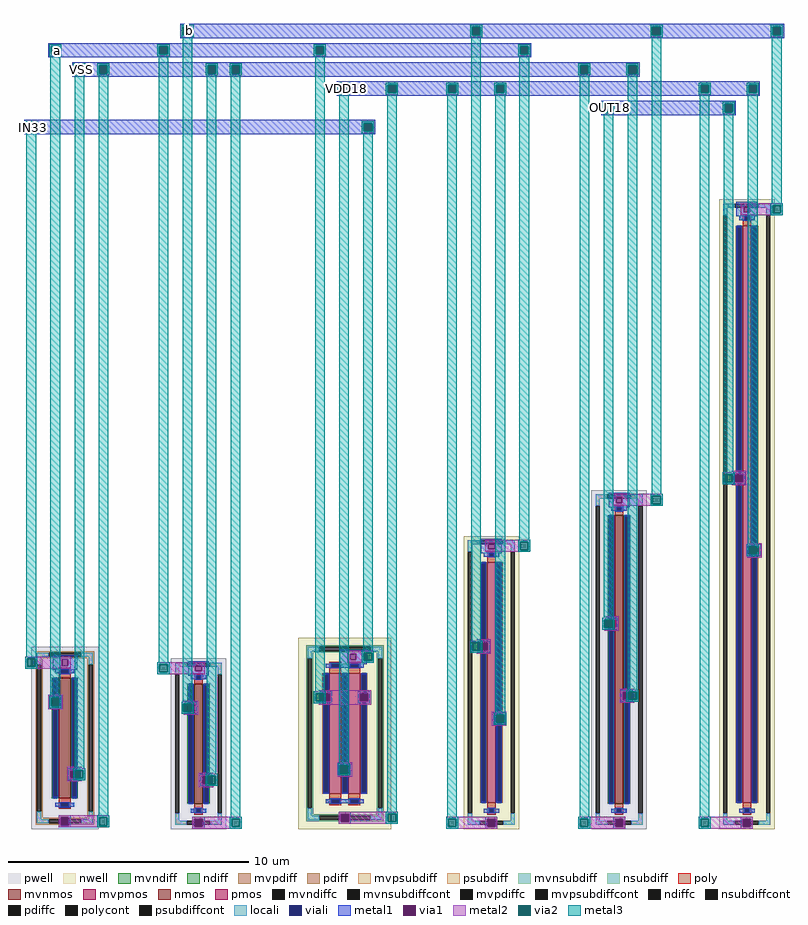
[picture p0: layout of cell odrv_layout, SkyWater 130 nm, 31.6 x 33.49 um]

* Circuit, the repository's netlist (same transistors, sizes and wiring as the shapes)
* NGSPICE file created from odrv_layout.ext - technology: sky130A

.subckt odrv_layout VSS VDD18 OUT18 IN33
X0 VSS b OUT18 VSS sky130_fd_pr__nfet_01v8 ad=3.48 pd=24.58 as=3.48 ps=24.58 w=12 l=0.35
X1 VSS a b VSS sky130_fd_pr__nfet_01v8 ad=1.45 pd=10.58 as=1.45 ps=10.58 w=5 l=0.35
X2 VSS IN33 a VSS sky130_fd_pr__nfet_g5v0d10v5 ad=1.45 pd=10.58 as=1.45 ps=10.58 w=5 l=0.5
X3 VDD18 b OUT18 VDD18 sky130_fd_pr__pfet_01v8 ad=6.96 pd=48.58 as=6.96 ps=48.58 w=24 l=0.35
X4 VDD18 a b VDD18 sky130_fd_pr__pfet_01v8 ad=2.9 pd=20.58 as=2.9 ps=20.58 w=10 l=0.35
X5 a IN33 VDD18 VDD18 sky130_fd_pr__pfet_g5v0d10v5 ad=1.45 pd=10.58 as=0.725 ps=5.29 w=5 l=0.5 M=2
.ends

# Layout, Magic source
magic
tech sky130A
magscale 1 2
<< viali >>
rect 246 31 314 99
rect 1357 19 1425 87
rect 2575 61 2643 129
rect 3793 19 3861 87
rect 4855 19 4923 87
rect 5917 19 5985 87
<< metal1 >>
rect 1240 6672 6260 6698
rect 1240 6604 1266 6672
rect 1334 6604 3666 6672
rect 3734 6604 5166 6672
rect 5234 6604 6166 6672
rect 6234 6604 6260 6672
rect 1240 6578 6260 6604
rect 140 6512 4160 6538
rect 140 6444 166 6512
rect 234 6444 1066 6512
rect 1134 6444 2366 6512
rect 2434 6444 4066 6512
rect 4134 6444 4160 6512
rect 140 6418 4160 6444
rect 340 6352 5060 6378
rect 340 6284 366 6352
rect 434 6284 566 6352
rect 634 6284 1466 6352
rect 1534 6284 1666 6352
rect 1734 6284 4566 6352
rect 4634 6284 4966 6352
rect 5034 6284 5060 6352
rect 340 6258 5060 6284
rect 2540 6192 6060 6218
rect 2540 6124 2566 6192
rect 2634 6124 2966 6192
rect 3034 6124 3466 6192
rect 3534 6124 3866 6192
rect 3934 6124 5566 6192
rect 5634 6124 5966 6192
rect 6034 6124 6060 6192
rect 2540 6098 6060 6124
rect 4740 6032 5860 6058
rect 4740 5964 4766 6032
rect 4834 5964 5766 6032
rect 5834 5964 5860 6032
rect 4740 5938 5860 5964
rect -60 5872 2860 5898
rect -60 5804 -34 5872
rect 34 5804 2766 5872
rect 2834 5804 2860 5872
rect -60 5778 2860 5804
rect 5864 5182 6038 5216
rect 5864 5130 5925 5182
rect 5977 5130 6038 5182
rect 5864 5096 6038 5130
rect 5837 2953 5937 2969
rect 5837 2885 5853 2953
rect 5921 2885 5937 2953
rect 5837 2869 5937 2885
rect 4802 2764 4976 2798
rect 4802 2712 4863 2764
rect 4915 2712 4976 2764
rect 4802 2678 4976 2712
rect 3740 2382 3914 2416
rect 3740 2330 3801 2382
rect 3853 2330 3914 2382
rect 3740 2296 3914 2330
rect 5965 2353 6065 2369
rect 5965 2285 5981 2353
rect 6049 2285 6065 2353
rect 5965 2269 6065 2285
rect 4775 1744 4875 1760
rect 4775 1676 4791 1744
rect 4859 1676 4875 1744
rect 4775 1660 4875 1676
rect 3713 1553 3813 1569
rect 2564 1460 2790 1494
rect 3713 1485 3729 1553
rect 3797 1485 3813 1553
rect 3713 1469 3813 1485
rect 178 1412 382 1446
rect 178 1360 254 1412
rect 306 1360 382 1412
rect 2564 1408 2651 1460
rect 2703 1408 2790 1460
rect 178 1326 382 1360
rect 1304 1364 1478 1398
rect 2564 1374 2790 1408
rect 1304 1312 1365 1364
rect 1417 1312 1478 1364
rect 1304 1278 1478 1312
rect 2401 1131 2501 1147
rect 151 1092 251 1108
rect 151 1024 167 1092
rect 235 1024 251 1092
rect 2401 1063 2417 1131
rect 2485 1063 2501 1131
rect 151 1008 251 1024
rect 1277 1044 1377 1060
rect 2401 1047 2501 1063
rect 2717 1131 2817 1147
rect 2717 1063 2733 1131
rect 2801 1063 2817 1131
rect 2717 1047 2817 1063
rect 4903 1144 5003 1160
rect 4903 1076 4919 1144
rect 4987 1076 5003 1144
rect 4903 1060 5003 1076
rect 1277 976 1293 1044
rect 1361 976 1377 1044
rect 1277 960 1377 976
rect 3841 953 3941 969
rect 3841 885 3857 953
rect 3925 885 3941 953
rect 3841 869 3941 885
rect 2559 531 2659 547
rect 309 492 409 508
rect 309 424 325 492
rect 393 424 409 492
rect 2559 463 2575 531
rect 2643 463 2659 531
rect 309 408 409 424
rect 1405 444 1505 460
rect 2559 447 2659 463
rect 1405 376 1421 444
rect 1489 376 1505 444
rect 1405 360 1505 376
rect 2559 129 2659 145
rect 230 99 330 115
rect 230 31 246 99
rect 314 31 330 99
rect 230 15 330 31
rect 1341 87 1441 103
rect 1341 19 1357 87
rect 1425 19 1441 87
rect 2559 61 2575 129
rect 2643 61 2659 129
rect 2559 45 2659 61
rect 3777 87 3877 103
rect 1341 3 1441 19
rect 3777 19 3793 87
rect 3861 19 3877 87
rect 3777 3 3877 19
rect 4839 87 4939 103
rect 4839 19 4855 87
rect 4923 19 4939 87
rect 4839 3 4939 19
rect 5901 87 6001 103
rect 5901 19 5917 87
rect 5985 19 6001 87
rect 5901 3 6001 19
<< via1 >>
rect 1266 6604 1334 6672
rect 3666 6604 3734 6672
rect 5166 6604 5234 6672
rect 6166 6604 6234 6672
rect 166 6444 234 6512
rect 1066 6444 1134 6512
rect 2366 6444 2434 6512
rect 4066 6444 4134 6512
rect 366 6284 434 6352
rect 566 6284 634 6352
rect 1466 6284 1534 6352
rect 1666 6284 1734 6352
rect 4566 6284 4634 6352
rect 4966 6284 5034 6352
rect 2566 6124 2634 6192
rect 2966 6124 3034 6192
rect 3466 6124 3534 6192
rect 3866 6124 3934 6192
rect 5566 6124 5634 6192
rect 5966 6124 6034 6192
rect 4766 5964 4834 6032
rect 5766 5964 5834 6032
rect -34 5804 34 5872
rect 2766 5804 2834 5872
rect 5925 5130 5977 5182
rect 5853 2885 5921 2953
rect 4863 2712 4915 2764
rect 3801 2330 3853 2382
rect 5981 2285 6049 2353
rect 4791 1676 4859 1744
rect 3729 1485 3797 1553
rect 254 1360 306 1412
rect 2651 1408 2703 1460
rect 1365 1312 1417 1364
rect 167 1024 235 1092
rect 2417 1063 2485 1131
rect 2733 1063 2801 1131
rect 4919 1076 4987 1144
rect 1293 976 1361 1044
rect 3857 885 3925 953
rect 325 424 393 492
rect 2575 463 2643 531
rect 1421 376 1489 444
rect 246 31 314 99
rect 1357 19 1425 87
rect 2575 61 2643 129
rect 3793 19 3861 87
rect 4855 19 4923 87
rect 5917 19 5985 87
<< metal2 >>
rect 1250 6672 1350 6688
rect 1250 6604 1266 6672
rect 1334 6604 1350 6672
rect 1250 6588 1350 6604
rect 3650 6672 3750 6688
rect 3650 6604 3666 6672
rect 3734 6604 3750 6672
rect 3650 6588 3750 6604
rect 5150 6672 5250 6688
rect 5150 6604 5166 6672
rect 5234 6604 5250 6672
rect 5150 6588 5250 6604
rect 6150 6672 6250 6688
rect 6150 6604 6166 6672
rect 6234 6604 6250 6672
rect 6150 6588 6250 6604
rect 150 6512 250 6528
rect 150 6444 166 6512
rect 234 6444 250 6512
rect 150 6428 250 6444
rect 1050 6512 1150 6528
rect 1050 6444 1066 6512
rect 1134 6444 1150 6512
rect 1050 6428 1150 6444
rect 2350 6512 2450 6528
rect 2350 6444 2366 6512
rect 2434 6444 2450 6512
rect 2350 6428 2450 6444
rect 4050 6512 4150 6528
rect 4050 6444 4066 6512
rect 4134 6444 4150 6512
rect 4050 6428 4150 6444
rect 350 6352 450 6368
rect 350 6284 366 6352
rect 434 6284 450 6352
rect 350 6268 450 6284
rect 550 6352 650 6368
rect 550 6284 566 6352
rect 634 6284 650 6352
rect 550 6268 650 6284
rect 1450 6352 1550 6368
rect 1450 6284 1466 6352
rect 1534 6284 1550 6352
rect 1450 6268 1550 6284
rect 1650 6352 1750 6368
rect 1650 6284 1666 6352
rect 1734 6284 1750 6352
rect 1650 6268 1750 6284
rect 4550 6352 4650 6368
rect 4550 6284 4566 6352
rect 4634 6284 4650 6352
rect 4550 6268 4650 6284
rect 4950 6352 5050 6368
rect 4950 6284 4966 6352
rect 5034 6284 5050 6352
rect 4950 6268 5050 6284
rect 2550 6192 2650 6208
rect 2550 6124 2566 6192
rect 2634 6124 2650 6192
rect 2550 6108 2650 6124
rect 2950 6192 3050 6208
rect 2950 6124 2966 6192
rect 3034 6124 3050 6192
rect 2950 6108 3050 6124
rect 3450 6192 3550 6208
rect 3450 6124 3466 6192
rect 3534 6124 3550 6192
rect 3450 6108 3550 6124
rect 3850 6192 3950 6208
rect 3850 6124 3866 6192
rect 3934 6124 3950 6192
rect 3850 6108 3950 6124
rect 5550 6192 5650 6208
rect 5550 6124 5566 6192
rect 5634 6124 5650 6192
rect 5550 6108 5650 6124
rect 5950 6192 6050 6208
rect 5950 6124 5966 6192
rect 6034 6124 6050 6192
rect 5950 6108 6050 6124
rect 4750 6032 4850 6048
rect 4750 5964 4766 6032
rect 4834 5964 4850 6032
rect 4750 5948 4850 5964
rect 5750 6032 5850 6048
rect 5750 5964 5766 6032
rect 5834 5964 5850 6032
rect 5750 5948 5850 5964
rect -50 5872 50 5888
rect -50 5804 -34 5872
rect 34 5804 50 5872
rect -50 5788 50 5804
rect 2750 5872 2850 5888
rect 2750 5804 2766 5872
rect 2834 5804 2850 5872
rect 2750 5788 2850 5804
rect 5901 5190 6250 5206
rect 5901 5182 6166 5190
rect 5901 5130 5925 5182
rect 5977 5130 6166 5182
rect 5901 5122 6166 5130
rect 6234 5122 6250 5190
rect 5901 5106 6250 5122
rect 5827 2969 5947 2979
rect 5750 2953 5947 2969
rect 5750 2885 5766 2953
rect 5834 2885 5853 2953
rect 5921 2885 5947 2953
rect 5750 2869 5947 2885
rect 5827 2859 5947 2869
rect 4839 2772 5250 2788
rect 4839 2764 5166 2772
rect 4839 2712 4863 2764
rect 4915 2712 5166 2764
rect 4839 2704 5166 2712
rect 5234 2704 5250 2772
rect 4839 2688 5250 2704
rect 3777 2390 4150 2406
rect 3777 2382 4066 2390
rect 3777 2330 3801 2382
rect 3853 2330 4066 2382
rect 3777 2322 4066 2330
rect 4134 2322 4150 2390
rect 5955 2369 6075 2379
rect 3777 2306 4150 2322
rect 5950 2353 6075 2369
rect 5950 2285 5966 2353
rect 6049 2285 6075 2353
rect 5950 2269 6075 2285
rect 5955 2259 6075 2269
rect 4765 1760 4885 1770
rect 4750 1744 4885 1760
rect 4750 1676 4766 1744
rect 4859 1676 4885 1744
rect 4750 1660 4885 1676
rect 4765 1650 4885 1660
rect 3703 1569 3823 1579
rect 3650 1553 3823 1569
rect 3650 1485 3666 1553
rect 3797 1485 3823 1553
rect 2627 1468 2850 1484
rect 3650 1469 3823 1485
rect 2627 1460 2766 1468
rect -50 1420 330 1436
rect -50 1352 -34 1420
rect 34 1412 330 1420
rect 34 1360 254 1412
rect 306 1360 330 1412
rect 2627 1408 2651 1460
rect 2703 1408 2766 1460
rect 2627 1400 2766 1408
rect 2834 1400 2850 1468
rect 3703 1459 3823 1469
rect 34 1352 330 1360
rect -50 1336 330 1352
rect 1050 1372 1441 1388
rect 2627 1384 2850 1400
rect 1050 1304 1066 1372
rect 1134 1364 1441 1372
rect 1134 1312 1365 1364
rect 1417 1312 1441 1364
rect 1134 1304 1441 1312
rect 1050 1288 1441 1304
rect 4893 1160 5013 1170
rect 2391 1147 2827 1157
rect 2350 1131 2827 1147
rect 141 1092 261 1118
rect 141 1024 166 1092
rect 235 1024 261 1092
rect 1267 1060 1387 1070
rect 141 998 261 1024
rect 1250 1044 1387 1060
rect 2350 1063 2366 1131
rect 2485 1063 2733 1131
rect 2801 1063 2827 1131
rect 2350 1047 2827 1063
rect 4893 1144 5050 1160
rect 4893 1076 4919 1144
rect 5034 1076 5050 1144
rect 4893 1060 5050 1076
rect 4893 1050 5013 1060
rect 1250 976 1266 1044
rect 1361 976 1387 1044
rect 2391 1037 2827 1047
rect 1250 960 1387 976
rect 1267 950 1387 960
rect 3831 953 3951 979
rect 3831 885 3857 953
rect 3934 885 3951 953
rect 3831 859 3951 885
rect 2549 531 2669 557
rect 299 508 419 518
rect 299 492 450 508
rect 299 424 325 492
rect 434 424 450 492
rect 299 408 450 424
rect 1395 460 1515 470
rect 2549 463 2566 531
rect 2643 463 2669 531
rect 1395 444 1550 460
rect 299 398 419 408
rect 1395 376 1421 444
rect 1534 376 1550 444
rect 2549 437 2669 463
rect 1395 360 1550 376
rect 1395 350 1515 360
rect 2559 129 3050 145
rect 230 99 650 115
rect 230 31 246 99
rect 314 31 566 99
rect 634 31 650 99
rect 230 15 650 31
rect 1341 87 1750 103
rect 1341 19 1357 87
rect 1425 19 1666 87
rect 1734 19 1750 87
rect 2559 61 2575 129
rect 2643 61 2966 129
rect 3034 61 3050 129
rect 2559 45 3050 61
rect 3450 87 3877 103
rect 1341 3 1750 19
rect 3450 19 3466 87
rect 3534 19 3793 87
rect 3861 19 3877 87
rect 3450 3 3877 19
rect 4550 87 4939 103
rect 4550 19 4566 87
rect 4634 19 4855 87
rect 4923 19 4939 87
rect 4550 3 4939 19
rect 5550 87 6001 103
rect 5550 19 5566 87
rect 5634 19 5917 87
rect 5985 19 6001 87
rect 5550 3 6001 19
<< via2 >>
rect 1266 6604 1334 6672
rect 3666 6604 3734 6672
rect 5166 6604 5234 6672
rect 6166 6604 6234 6672
rect 166 6444 234 6512
rect 1066 6444 1134 6512
rect 2366 6444 2434 6512
rect 4066 6444 4134 6512
rect 366 6284 434 6352
rect 566 6284 634 6352
rect 1466 6284 1534 6352
rect 1666 6284 1734 6352
rect 4566 6284 4634 6352
rect 4966 6284 5034 6352
rect 2566 6124 2634 6192
rect 2966 6124 3034 6192
rect 3466 6124 3534 6192
rect 3866 6124 3934 6192
rect 5566 6124 5634 6192
rect 5966 6124 6034 6192
rect 4766 5964 4834 6032
rect 5766 5964 5834 6032
rect -34 5804 34 5872
rect 2766 5804 2834 5872
rect 6166 5122 6234 5190
rect 5766 2885 5834 2953
rect 5166 2704 5234 2772
rect 4066 2322 4134 2390
rect 5966 2285 5981 2353
rect 5981 2285 6034 2353
rect 4766 1676 4791 1744
rect 4791 1676 4834 1744
rect 3666 1485 3729 1553
rect 3729 1485 3734 1553
rect -34 1352 34 1420
rect 2766 1400 2834 1468
rect 1066 1304 1134 1372
rect 166 1024 167 1092
rect 167 1024 234 1092
rect 2366 1063 2417 1131
rect 2417 1063 2434 1131
rect 4966 1076 4987 1144
rect 4987 1076 5034 1144
rect 1266 976 1293 1044
rect 1293 976 1334 1044
rect 3866 885 3925 953
rect 3925 885 3934 953
rect 366 424 393 492
rect 393 424 434 492
rect 2566 463 2575 531
rect 2575 463 2634 531
rect 1466 376 1489 444
rect 1489 376 1534 444
rect 566 31 634 99
rect 1666 19 1734 87
rect 2966 61 3034 129
rect 3466 19 3534 87
rect 4566 19 4634 87
rect 5566 19 5634 87
<< metal3 >>
rect 1250 6672 1350 6688
rect 1250 6604 1266 6672
rect 1334 6604 1350 6672
rect 1250 6588 1350 6604
rect 3650 6672 3750 6688
rect 3650 6604 3666 6672
rect 3734 6604 3750 6672
rect 3650 6588 3750 6604
rect 5150 6672 5250 6688
rect 5150 6604 5166 6672
rect 5234 6604 5250 6672
rect 5150 6588 5250 6604
rect 6150 6672 6250 6688
rect 6150 6604 6166 6672
rect 6234 6604 6250 6672
rect 6150 6588 6250 6604
rect 150 6512 250 6528
rect 150 6444 166 6512
rect 234 6444 250 6512
rect 150 6428 250 6444
rect 1050 6512 1150 6528
rect 1050 6444 1066 6512
rect 1134 6444 1150 6512
rect 1050 6428 1150 6444
rect -50 5872 50 5888
rect -50 5804 -34 5872
rect 34 5804 50 5872
rect -50 5788 50 5804
rect -40 1436 40 5788
rect -50 1420 50 1436
rect -50 1352 -34 1420
rect 34 1352 50 1420
rect -50 1336 50 1352
rect 160 1108 240 6428
rect 350 6352 450 6368
rect 350 6284 366 6352
rect 434 6284 450 6352
rect 350 6268 450 6284
rect 550 6352 650 6368
rect 550 6284 566 6352
rect 634 6284 650 6352
rect 550 6268 650 6284
rect 150 1092 250 1108
rect 150 1024 166 1092
rect 234 1024 250 1092
rect 150 1008 250 1024
rect 360 508 440 6268
rect 350 492 450 508
rect 350 424 366 492
rect 434 424 450 492
rect 350 408 450 424
rect 560 115 640 6268
rect 1060 1388 1140 6428
rect 1050 1372 1150 1388
rect 1050 1304 1066 1372
rect 1134 1304 1150 1372
rect 1050 1288 1150 1304
rect 1260 1060 1340 6588
rect 2350 6512 2450 6528
rect 2350 6444 2366 6512
rect 2434 6444 2450 6512
rect 2350 6428 2450 6444
rect 1450 6352 1550 6368
rect 1450 6284 1466 6352
rect 1534 6284 1550 6352
rect 1450 6268 1550 6284
rect 1650 6352 1750 6368
rect 1650 6284 1666 6352
rect 1734 6284 1750 6352
rect 1650 6268 1750 6284
rect 1250 1044 1350 1060
rect 1250 976 1266 1044
rect 1334 976 1350 1044
rect 1250 960 1350 976
rect 1460 460 1540 6268
rect 1450 444 1550 460
rect 1450 376 1466 444
rect 1534 376 1550 444
rect 1450 360 1550 376
rect 550 99 650 115
rect 1660 103 1740 6268
rect 2360 1147 2440 6428
rect 2550 6192 2650 6208
rect 2550 6124 2566 6192
rect 2634 6124 2650 6192
rect 2550 6108 2650 6124
rect 2950 6192 3050 6208
rect 2950 6124 2966 6192
rect 3034 6124 3050 6192
rect 2950 6108 3050 6124
rect 3450 6192 3550 6208
rect 3450 6124 3466 6192
rect 3534 6124 3550 6192
rect 3450 6108 3550 6124
rect 2350 1131 2450 1147
rect 2350 1063 2366 1131
rect 2434 1063 2450 1131
rect 2350 1047 2450 1063
rect 2560 547 2640 6108
rect 2750 5872 2850 5888
rect 2750 5804 2766 5872
rect 2834 5804 2850 5872
rect 2750 5788 2850 5804
rect 2760 1484 2840 5788
rect 2750 1468 2850 1484
rect 2750 1400 2766 1468
rect 2834 1400 2850 1468
rect 2750 1384 2850 1400
rect 2550 531 2650 547
rect 2550 463 2566 531
rect 2634 463 2650 531
rect 2550 447 2650 463
rect 2960 145 3040 6108
rect 2950 129 3050 145
rect 550 31 566 99
rect 634 31 650 99
rect 550 15 650 31
rect 1650 87 1750 103
rect 1650 19 1666 87
rect 1734 19 1750 87
rect 2950 61 2966 129
rect 3034 61 3050 129
rect 3460 103 3540 6108
rect 3660 1569 3740 6588
rect 4050 6512 4150 6528
rect 4050 6444 4066 6512
rect 4134 6444 4150 6512
rect 4050 6428 4150 6444
rect 3850 6192 3950 6208
rect 3850 6124 3866 6192
rect 3934 6124 3950 6192
rect 3850 6108 3950 6124
rect 3650 1553 3750 1569
rect 3650 1485 3666 1553
rect 3734 1485 3750 1553
rect 3650 1469 3750 1485
rect 3860 969 3940 6108
rect 4060 2406 4140 6428
rect 4550 6352 4650 6368
rect 4550 6284 4566 6352
rect 4634 6284 4650 6352
rect 4550 6268 4650 6284
rect 4950 6352 5050 6368
rect 4950 6284 4966 6352
rect 5034 6284 5050 6352
rect 4950 6268 5050 6284
rect 4050 2390 4150 2406
rect 4050 2322 4066 2390
rect 4134 2322 4150 2390
rect 4050 2306 4150 2322
rect 3850 953 3950 969
rect 3850 885 3866 953
rect 3934 885 3950 953
rect 3850 869 3950 885
rect 4560 103 4640 6268
rect 4750 6032 4850 6048
rect 4750 5964 4766 6032
rect 4834 5964 4850 6032
rect 4750 5948 4850 5964
rect 4760 1760 4840 5948
rect 4750 1744 4850 1760
rect 4750 1676 4766 1744
rect 4834 1676 4850 1744
rect 4750 1660 4850 1676
rect 4960 1160 5040 6268
rect 5160 2788 5240 6588
rect 5550 6192 5650 6208
rect 5550 6124 5566 6192
rect 5634 6124 5650 6192
rect 5550 6108 5650 6124
rect 5950 6192 6050 6208
rect 5950 6124 5966 6192
rect 6034 6124 6050 6192
rect 5950 6108 6050 6124
rect 5150 2772 5250 2788
rect 5150 2704 5166 2772
rect 5234 2704 5250 2772
rect 5150 2688 5250 2704
rect 4950 1144 5050 1160
rect 4950 1076 4966 1144
rect 5034 1076 5050 1144
rect 4950 1060 5050 1076
rect 5560 103 5640 6108
rect 5750 6032 5850 6048
rect 5750 5964 5766 6032
rect 5834 5964 5850 6032
rect 5750 5948 5850 5964
rect 5760 2969 5840 5948
rect 5750 2953 5850 2969
rect 5750 2885 5766 2953
rect 5834 2885 5850 2953
rect 5750 2869 5850 2885
rect 5960 2369 6040 6108
rect 6160 5206 6240 6588
rect 6150 5190 6250 5206
rect 6150 5122 6166 5190
rect 6234 5122 6250 5190
rect 6150 5106 6250 5122
rect 5950 2353 6050 2369
rect 5950 2285 5966 2353
rect 6034 2285 6050 2353
rect 5950 2269 6050 2285
rect 2950 45 3050 61
rect 3450 87 3550 103
rect 1650 3 1750 19
rect 3450 19 3466 87
rect 3534 19 3550 87
rect 3450 3 3550 19
rect 4550 87 4650 103
rect 4550 19 4566 87
rect 4634 19 4650 87
rect 4550 3 4650 19
rect 5550 87 5650 103
rect 5550 19 5566 87
rect 5634 19 5650 87
rect 5550 3 5650 19
use sky130_fd_pr__nfet_g5v0d10v5_K6WTJS  U1N
transform 1 0 280 0 1 758
box -280 -758 280 758
use sky130_fd_pr__pfet_g5v0d10v5_T5LBLN  U1P
transform 1 0 2609 0 1 797
box -387 -797 387 797
use sky130_fd_pr__nfet_01v8_M2T339  U2N
transform 1 0 1391 0 1 710
box -231 -710 231 710
use sky130_fd_pr__pfet_01v8_66B4UM  U2P
transform 1 0 3827 0 1 1219
box -231 -1219 231 1219
use sky130_fd_pr__nfet_01v8_JCK2Y9  U3N
transform 1 0 4889 0 1 1410
box -231 -1410 231 1410
use sky130_fd_pr__pfet_01v8_4WRPEJ  U3P
transform 1 0 5951 0 1 2619
box -231 -2619 231 2619
<< labels >>
flabel metal1 400 6278 440 6358 0 FreeSans 400 0 0 0 VSS
port 1 nsew
flabel metal1 200 6438 240 6518 0 FreeSans 400 0 0 0 a
flabel metal1 2600 6118 2640 6198 0 FreeSans 400 0 0 0 VDD18
port 2 nsew
flabel metal1 1300 6598 1340 6678 0 FreeSans 400 0 0 0 b
flabel metal1 4800 5958 4840 6038 0 FreeSans 400 0 0 0 OUT18
port 3 nsew
flabel metal1 0 5798 40 5878 0 FreeSans 400 0 0 0 IN33
port 4 nsew
<< end >>

# cell sky130_fd_pr__nfet_g5v0d10v5_K6WTJS: kit device sky130_fd_pr__nfet_g5v0d10v5, w 5 l 0.5 m 1 nf 1 diffcov 100 polycov 100 guard 1 glc 1 grc 1 gtc 1 gbc 1 tbcov 100 rlcov 100 topc 1 botc 1 poverlap 0 doverlap 1 lmin 0.50 wmin 0.42 class mosfet compatible {sky130_fd_pr__nfet_01v8 sky130_fd_pr__nfet_01v8_lvt sky130_fd_bs_flash__special_sonosfet_star sky130_fd_pr__nfet_g5v0d10v5 sky130_fd_pr__nfet_05v0_nvt sky130_fd_pr__nfet_03v3_nvt} full_metal 1 conn_gates 1 viasrc 100 viadrn 100 viagate 100 viagb 0 viagr 0 viagl 0 viagt 0 doports 1

# cell sky130_fd_pr__pfet_g5v0d10v5_T5LBLN: kit device sky130_fd_pr__pfet_g5v0d10v5, w 5 l 0.5 m 1 nf 2 diffcov 100 polycov 100 guard 1 glc 1 grc 1 gtc 1 gbc 1 tbcov 100 rlcov 100 topc 1 botc 1 poverlap 0 doverlap 1 lmin 0.50 wmin 0.42 class mosfet compatible {sky130_fd_pr__pfet_01v8 sky130_fd_pr__pfet_01v8_lvt sky130_fd_pr__pfet_01v8_hvt sky130_fd_pr__pfet_g5v0d10v5} full_metal 1 conn_gates 1 viasrc 100 viadrn 100 viagate 100 viagb 0 viagr 0 viagl 0 viagt 0 doports 1

# cell sky130_fd_pr__nfet_01v8_M2T339: kit device sky130_fd_pr__nfet_01v8, w 5 l 0.35 m 1 nf 1 diffcov 100 polycov 100 guard 1 glc 1 grc 1 gtc 1 gbc 1 tbcov 100 rlcov 100 topc 1 botc 1 poverlap 0 doverlap 1 lmin 0.15 wmin 0.42 class mosfet compatible {sky130_fd_pr__nfet_01v8 sky130_fd_pr__nfet_01v8_lvt sky130_fd_bs_flash__special_sonosfet_star sky130_fd_pr__nfet_g5v0d10v5 sky130_fd_pr__nfet_05v0_nvt sky130_fd_pr__nfet_03v3_nvt} full_metal 1 conn_gates 1 viasrc 100 viadrn 100 viagate 100 viagb 0 viagr 0 viagl 0 viagt 0 doports 1

# cell sky130_fd_pr__pfet_01v8_66B4UM: kit device sky130_fd_pr__pfet_01v8, w 10 l 0.35 m 1 nf 1 diffcov 100 polycov 100 guard 1 glc 1 grc 1 gtc 1 gbc 1 tbcov 100 rlcov 100 topc 1 botc 1 poverlap 0 doverlap 1 lmin 0.15 wmin 0.42 class mosfet compatible {sky130_fd_pr__pfet_01v8 sky130_fd_pr__pfet_01v8_lvt sky130_fd_pr__pfet_01v8_hvt sky130_fd_pr__pfet_g5v0d10v5} full_metal 1 conn_gates 1 viasrc 100 viadrn 100 viagate 100 viagb 0 viagr 0 viagl 0 viagt 0 doports 1

# cell sky130_fd_pr__nfet_01v8_JCK2Y9: kit device sky130_fd_pr__nfet_01v8, w 12 l 0.35 m 1 nf 1 diffcov 100 polycov 100 guard 1 glc 1 grc 1 gtc 1 gbc 1 tbcov 100 rlcov 100 topc 1 botc 1 poverlap 0 doverlap 1 lmin 0.15 wmin 0.42 class mosfet compatible {sky130_fd_pr__nfet_01v8 sky130_fd_pr__nfet_01v8_lvt sky130_fd_bs_flash__special_sonosfet_star sky130_fd_pr__nfet_g5v0d10v5 sky130_fd_pr__nfet_05v0_nvt sky130_fd_pr__nfet_03v3_nvt} full_metal 1 conn_gates 1 viasrc 100 viadrn 100 viagate 100 viagb 0 viagr 0 viagl 0 viagt 0 doports 1

# cell sky130_fd_pr__pfet_01v8_4WRPEJ: kit device sky130_fd_pr__pfet_01v8, w 24 l 0.35 m 1 nf 1 diffcov 100 polycov 100 guard 1 glc 1 grc 1 gtc 1 gbc 1 tbcov 100 rlcov 100 topc 1 botc 1 poverlap 0 doverlap 1 lmin 0.15 wmin 0.42 class mosfet compatible {sky130_fd_pr__pfet_01v8 sky130_fd_pr__pfet_01v8_lvt sky130_fd_pr__pfet_01v8_hvt sky130_fd_pr__pfet_g5v0d10v5} full_metal 1 conn_gates 1 viasrc 100 viadrn 100 viagate 100 viagb 0 viagr 0 viagl 0 viagt 0 doports 1
